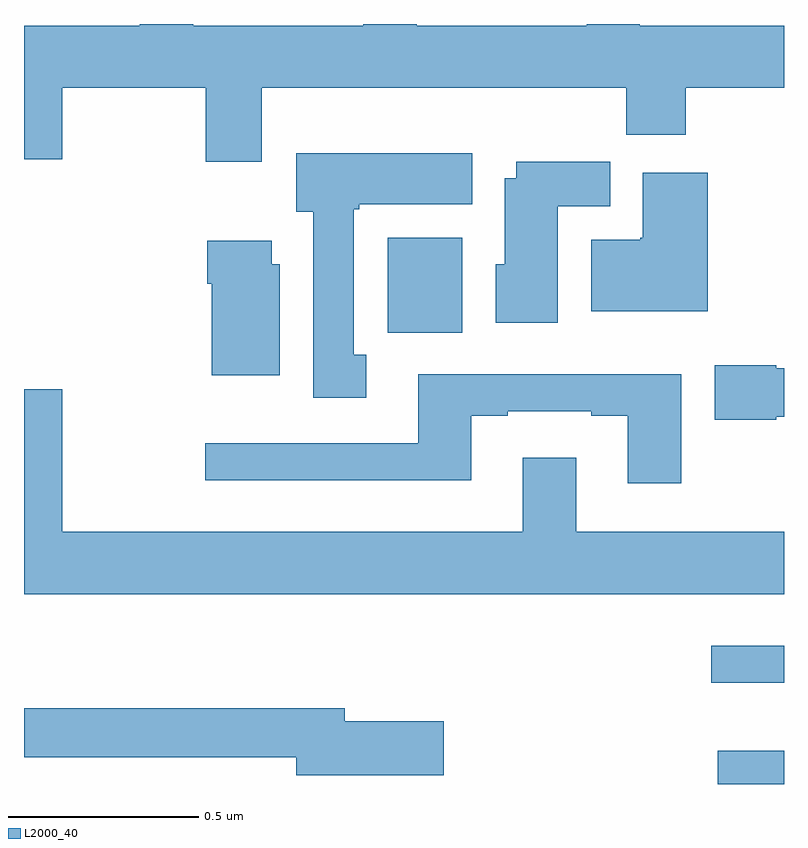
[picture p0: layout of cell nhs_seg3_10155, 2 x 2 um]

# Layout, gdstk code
import gdstk
lib = gdstk.Library(unit=1e-6, precision=1e-09)
def R(c, l, rs):  # rectangles x0, y0, x1, y1
    for r in rs: c.add(gdstk.rectangle(r[:2], r[2:], *l))
def P(c, l, *ps):  # polygons
    for p in ps: c.add(gdstk.Polygon(p, *l))
L2000_40 = (2000, 40)

nhs_seg3_10155 = lib.new_cell('nhs_seg3_10155')
R(nhs_seg3_10155, L2000_40, [(238.826,716.4,239,716.488), (238.809,716.667,239,716.764), (237.957,717.588,238.153,717.838)])
P(nhs_seg3_10155, L2000_40, [(237.625,718.232),(238.585,718.232),(238.585,718.108),(238.742,718.108),(238.742,718.232),(239,718.232),(239,718.396),(238.621,718.396),(238.621,718.4),(238.481,718.4),(238.481,718.396),(238.033,718.396),(238.033,718.4),(237.893,718.4),(237.893,718.396),(237.445,718.396),(237.445,718.4),(237.305,718.4),(237.305,718.396),(237,718.396),(237,718.044),(237.1,718.044),(237.1,718.232),(237.478,718.232),(237.478,718.038),(237.625,718.038)],
  [(237.901,717.529),(237.868,717.529),(237.868,717.913),(237.882,717.913),(237.882,717.926),(238.18,717.926),(238.18,718.06),(237.716,718.06),(237.716,717.906),(237.761,717.906),(237.761,717.417),(237.901,717.417)],
  [(238.405,717.92),(238.543,717.92),(238.543,718.038),(238.295,718.038),(238.295,717.994),(238.265,717.994),(238.265,717.768),(238.241,717.768),(238.241,717.614),(238.405,717.614)],
  [(238.799,718.009),(238.628,718.009),(238.628,717.838),(238.622,717.838),(238.622,717.832),(238.493,717.832),(238.493,717.644),(238.799,717.644)],
  [(237.673,717.768),(237.652,717.768),(237.652,717.829),(237.482,717.829),(237.482,717.716),(237.494,717.716),(237.494,717.476),(237.673,717.476)],
  [(238.98,717.366),(239,717.366),(239,717.494),(238.98,717.494),(238.98,717.502),(238.818,717.502),(238.818,717.358),(238.98,717.358)],
  [(238.729,717.478),(238.037,717.478),(238.037,717.297),(237.477,717.297),(237.477,717.2),(238.177,717.2),(238.177,717.369),(238.273,717.369),(238.273,717.381),(238.493,717.381),(238.493,717.369),(238.589,717.369),(238.589,717.192),(238.729,717.192)],
  [(239,717.064),(238.453,717.064),(238.453,717.259),(238.313,717.259),(238.313,717.064),(237.1,717.064),(237.1,717.439),(237,717.439),(237,716.9),(239,716.9)],
  [(238.105,716.565),(237.844,716.565),(237.844,716.599),(237,716.599),(237,716.47),(237.716,716.47),(237.716,716.423),(238.105,716.423)])

lib.write_gds('nhs_seg3_10155.gds')
